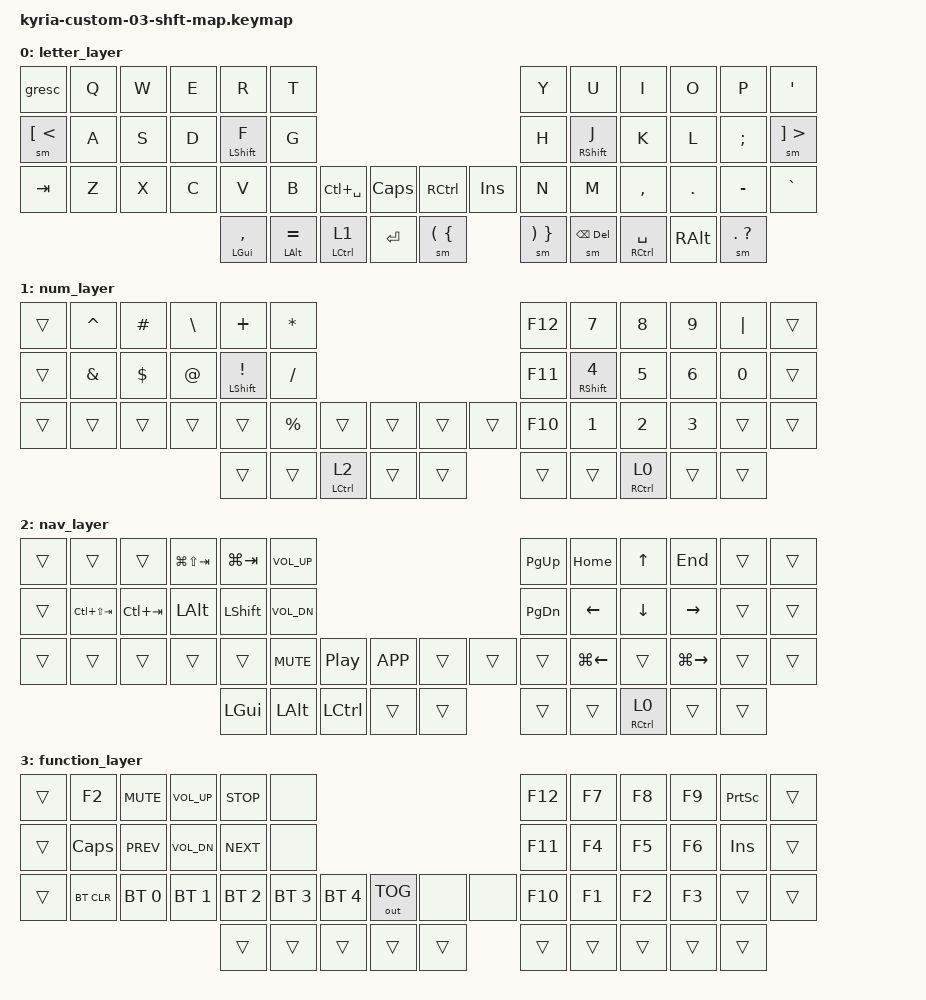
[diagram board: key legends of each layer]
#include <behaviors.dtsi>
#include <dt-bindings/zmk/keys.h>
#include <dt-bindings/zmk/bt.h>
#include <dt-bindings/zmk/outputs.h>

// Layers
#define LLTR	0
#define LNBR	1
#define LNAV	2
#define LFUN	3

//GUI nav MacOS
#define NTAB LG(TAB)
#define PTAB LG(LS(TAB))
#define NWIN LC(TAB)
#define PWIN LC(LS(TAB))
#define PDKT LG(LEFT)
#define NDKT LG(RIGHT)
//switch input source
#define LANG LC(SPACE)

//cut copy paste
// #define CCUT LC(X)
// #define CCOPY LC(C)
// #define CPASTE LC(V)

//undo redo
// #define CUNDO LC(Z)
// #define CREDO LC(LS(Z))

//find, select all?, F5(reload/debug)

&sl {
	release-after-ms = <1000>;
};

/ {
	behaviors {
    // hm: homerow_mods {
    //   compatible = "zmk,behavior-hold-tap";
    //   label = "HOMEROW_MODS";
    //   #binding-cells = <2>;
    //   tapping_term_ms = <200>;
    //   flavor = "tap-preferred";
    //   bindings = <&kp>, <&cp>;
    // };
		hm: homerow_mods {
			compatible = "zmk,behavior-hold-tap";
			label = "homerow mods";
			#binding-cells = <2>;
			tapping_term_ms = <220>;
			flavor = "balanced";
			bindings = <&kp>, <&kp>;
		};

		mx: layer_tap_FNC {
			compatible = "zmk,behavior-hold-tap";
			label = "LAYER_TAP_FNC";
			#binding-cells = <2>;
			flavor = "hold-preferred";
			tapping_term_ms = <200>;
			bindings = <&mo>, <&sl>;
		};

		lc: layer_tap_mod_hold {
			compatible = "zmk,behavior-hold-tap";
			label = "LAYER_TAP_MOD_HOLD";
			#binding-cells = <2>;
			flavor = "hold-preferred";
			tapping_term_ms = <200>;
			bindings = <&kp>, <&to>;
		};

		gresc: grave_escape {
			compatible = "zmk,behavior-mod-morph";
			label = "GRAVE_ESCAPE";
			#binding-cells = <0>;
			bindings = <&kp ESC>, <&kp GRAVE>;
			mods = <(MOD_LGUI|MOD_LSFT|MOD_RGUI|MOD_RSFT)>;
		};

		sm: shift_mod {
			compatible = "zmk,behavior-mod-morph";
			label = "SHIFT_MOD";
			#binding-cells = <2>;
			bindings = <&kp>, <&kp>;
			mods = <(MOD_LSFT|MOD_RSFT)>;
		};
	};

	keymap {
		compatible = "zmk,keymap";

		letter_layer {
			// ---------------------------------------------------------------------------------------------------------------------------------
			// | Esc/` |  Q  |  W  |  E   |  R   |  T    |                                          |  Y    |  U    |  I    |  O   |   P   | '/"  |
			// | [/<   |  A  |  S  |  D   | F/Shf|  G    |                                          |  H    | J/Shf |  K    |  L   |  ;/:  | ]/>  |
			// | Tab   |  Z  |  X  |  C   |  V   |  B    |  Lang   |  CAPS   |  |   Ctr   |  Ins    |  N    |  M    |  ,    |  .   |  -/_  | `/~  |
			//                     |,/Gui | =/Alt|L1/Ctr |  Ret    |  (/{    |  |   )/}   | Bsp/Del |Spc/Ctr| Alt   |  ./?  |
			bindings = <
				&gresc   		&kp Q &kp W &kp E &kp R 					&kp T           		                              							&kp Y &kp U  			&kp I			&kp O		&kp P   	&kp SQT
				&sm LBKT LT &kp A &kp S &kp D &hm LSHFT F 		&kp G       		                                  							&kp H &hm RSHFT J	&kp K			&kp L		&kp SEMI	&sm RBKT GT
				&kp TAB   	&kp Z &kp X &kp C &kp V 					&kp B 			&kp LANG	&kp CAPS  		&kp RCTRL 		&kp INS				&kp N &kp M  			&kp COMMA &kp DOT &kp MINUS	&kp GRAVE
												&hm LGUI COMMA &hm LALT EQUAL &lc LCTRL 1	&kp RET		&sm LPAR LBRC	&sm RPAR RBRC	&sm BSPC DEL	&hm RCTRL SPACE &kp RALT	&sm DOT QMARK
			>;
		};

		num_layer {
			// ---------------------------------------------------------------------------------------------------------------------------------
			// |  ---  |  ^  |  #  |  \   |  +   |  *    |                                          | F12   |  7    |  8    |  9   |   |   | ---  |
			// |  ---  |  &  |  $  |  @   |!/Shf |  /    |                                          | F11   | 4/Shf |  5    |  6   |   0   | ---  |
			// |  ---  | --- | --- | ---  | ---  |  %    |   ---   |  ---    |  |   ---   |  ---    | F10   |  1    |  2    |  3   |  ---  | ---  |
			//                     | ---  |  =   |L2/Ctr |   ---   |  ---    |  |   ---   |  ---    |L0/Ctr | ---   | ---   |
			bindings = <
				&trans	&kp CARET	&kp HASH  &kp BSLH	&kp PLUS 				&kp STAR                             			&kp F12 &kp N7 				&kp N8 &kp N9 &kp PIPE &trans
				&trans	&kp AMPS	&kp DLLR 	&kp AT 		&hm LSHFT EXCL 	&kp FSLH                           				&kp F11	&hm RSHFT N4	&kp N5 &kp N6 &kp N0 &trans
				&trans	&trans		&trans		&trans		&trans 					&kp PRCNT	&trans 	&trans	&trans	&trans	&kp F10 &kp N1 				&kp N2 &kp N3 &trans &trans
																		&trans  	&trans		&lc LCTRL 2 		&trans	&trans 	&trans	&trans	&lc RCTRL 0 &trans &trans
			>;
		};

		nav_layer {
			// ---------------------------------------------------------------------------------------------------------------------------------
			// | ---  | --- | --- | Tab- | Tab+ | Vol+  |                                          | Pgup  | Home |  Up   | End  |  ---  | ---  |
			// | ---  | Win-| Win+| Alt  | Shf  | Vol-  |                                          | Pgdw  | Left |  Down | Right|  ---  | ---  |
			// | ---  | --- | --- | ---  | ---  | Mute  |  Play   |  App    |  |   ---   |  ---    |       | Dkt- | ---   | Dkt+ |  ---  | ---  |
			//                    | Gui  | Alt  | Ctr   |   ---   |  ---    |  |   ---   |  ---    |L0/Ctr | ---  | ---   |
			bindings = <
				&trans &trans 	&trans 		&kp PTAB &kp NTAB  &kp C_VOL_UP                       							&kp PG_UP &kp HOME 	&kp UP   &kp END   	&trans	&trans
				&trans &kp PWIN &kp NWIN 	&kp LALT &kp LSHFT &kp C_VOL_DN                        							&kp PG_DN &kp LEFT 	&kp DOWN &kp RIGHT 	&trans	&trans
				&trans &trans   &trans    &trans   &trans    &kp C_MUTE		&kp C_PP	&kp K_APP	&trans	&trans 	&trans   	&kp PDKT 	&trans   &kp NDKT		&trans	&trans
																	&kp LGUI  &kp LALT   &kp LCTRL 	&trans 		&trans  	&trans	&trans	&lc RCTRL 0	&trans	&trans
			>;
		};

		function_layer {
			// ---------------------------------------------------------------------------------------------------------------------------------
			// | none  |  F2 | mute| V+   | stp  | ---   |                                       | F12   |  F7   |  F8   |  F9  | Print| none |
			// | none  | caps| Prev| V-   | Next | ---   |                                       | F11   |  F4   |  F5   |  F6  | Ins  | none |
			// | none  | /Ble| Ble0| Ble1 | Ble2 | Ble3  |  Ble4  |  Out    |  |   ---   |  ---  | F10   |  F1   |  F2   |  F3  | ---  | none |
			//                     | ---  | ---  | ---   |  ---   |  ---    |  |   ---   |  ---  | ---   | ---   | ---   |
			bindings = <
				&trans &kp F2     &kp C_MUTE   &kp C_VOL_UP &kp C_STOP   &none                                                &kp F12 &kp F7 &kp F8 &kp F9 &kp PSCRN &trans
				&trans &kp CAPS   &kp C_PREV   &kp C_VOL_DN &kp C_NEXT   &none                                                &kp F11 &kp F4 &kp F5 &kp F6 &kp INS  &trans
				&trans &bt BT_CLR &bt BT_SEL 0 &bt BT_SEL 1 &bt BT_SEL 2 &bt BT_SEL 3 &bt BT_SEL 4 &out OUT_TOG  &none  &none &kp F10 &kp F1 &kp F2 &kp F3 &trans   &trans
																&trans        &trans        &trans           &trans       &trans        &trans &trans &trans &trans &trans
			>;
		};

	};
};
